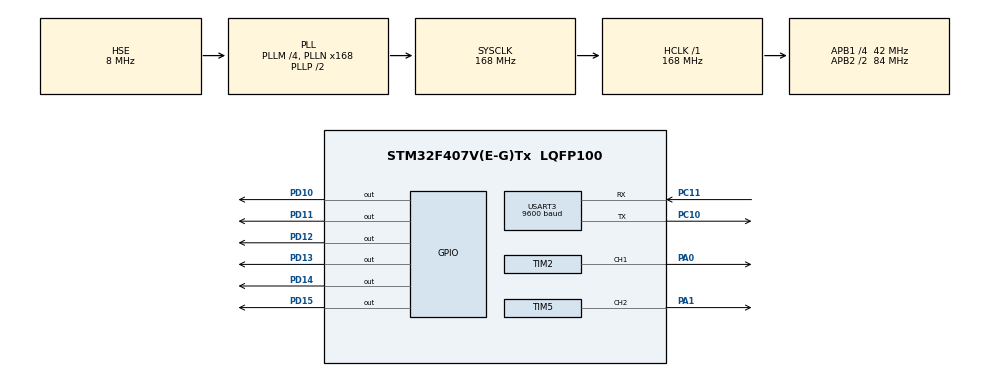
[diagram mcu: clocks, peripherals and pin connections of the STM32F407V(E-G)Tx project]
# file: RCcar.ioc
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Mcu.Family=STM32F4
Mcu.Name=STM32F407V(E-G)Tx
Mcu.Package=LQFP100
NVIC.PriorityGroup=NVIC_PRIORITYGROUP_4
NVIC.TIM2_IRQn=true\:0\:0\:false\:false\:true\:true\:true
NVIC.TIM5_IRQn=true\:0\:0\:false\:false\:true\:true\:true
NVIC.USART3_IRQn=true\:0\:0\:false\:false\:true\:true\:true
PA0-WKUP.Signal=S_TIM2_CH1_ETR
PA1.Signal=S_TIM5_CH2
PC10.Mode=Asynchronous
PC10.Signal=USART3_TX
PC11.Mode=Asynchronous
PC11.Signal=USART3_RX
PD10.Signal=GPIO_Output
PD11.Signal=GPIO_Output
PD12.Signal=GPIO_Output
PD13.Signal=GPIO_Output
PD14.Signal=GPIO_Output
PD15.Signal=GPIO_Output
PH0-OSC_IN.Mode=HSE-External-Oscillator
PH0-OSC_IN.Signal=RCC_OSC_IN
PH1-OSC_OUT.Mode=HSE-External-Oscillator
PH1-OSC_OUT.Signal=RCC_OSC_OUT
ProjectManager.HeapSize=0x200
ProjectManager.StackSize=0x400
ProjectManager.TargetToolchain=STM32CubeIDE
RCC.48MHZClocksFreq_Value=84000000
RCC.AHBFreq_Value=168000000
RCC.APB1CLKDivider=RCC_HCLK_DIV4
RCC.APB1Freq_Value=42000000
RCC.APB1TimFreq_Value=84000000
RCC.APB2CLKDivider=RCC_HCLK_DIV2
RCC.APB2Freq_Value=84000000
RCC.APB2TimFreq_Value=168000000
RCC.CortexFreq_Value=168000000
RCC.HCLKFreq_Value=168000000
RCC.HSE_VALUE=8000000
RCC.HSI_VALUE=16000000
RCC.LSE_VALUE=32768
RCC.PLLM=4
RCC.PLLN=168
RCC.PLLSourceVirtual=RCC_PLLSOURCE_HSE
RCC.SYSCLKFreq_VALUE=168000000
RCC.SYSCLKSource=RCC_SYSCLKSOURCE_PLLCLK
RCC.VCOOutputFreq_Value=336000000
SH.S_TIM2_CH1_ETR.0=TIM2_CH1,PWM Generation1 CH1
SH.S_TIM5_CH2.0=TIM5_CH2,PWM Generation2 CH2
TIM2.Channel-PWM\ Generation1\ CH1=TIM_CHANNEL_1
TIM2.Period=999
TIM2.Prescaler=3359
TIM2.Pulse-PWM\ Generation1\ CH1=0
TIM5.Channel-PWM\ Generation2\ CH2=TIM_CHANNEL_2
TIM5.Period=99
TIM5.Prescaler=16799
USART3.BaudRate=9600
USART3.VirtualMode=VM_ASYNC
board=custom

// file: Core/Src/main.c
/* USER CODE BEGIN Header */
/**
  ******************************************************************************
  * @file           : main.c
  * @brief          : Main program body
  ******************************************************************************
  * @attention
  *
  * <h2><center>&copy; Copyright (c) 2020 STMicroelectronics.
  * All rights reserved.</center></h2>
  *
  * This software component is licensed by ST under BSD 3-Clause license,
  * the "License"; You may not use this file except in compliance with the
  * License. You may obtain a copy of the License at:
  *                        opensource.org/licenses/BSD-3-Clause
  *
  ******************************************************************************
  */
/* USER CODE END Header */

#include "main.h"

TIM_HandleTypeDef htim2;
TIM_HandleTypeDef htim5;

UART_HandleTypeDef huart3;

/* USER CODE BEGIN PV */
double toDC;
double opp = 60;
double toServo;
double v1,v2;
uint8_t receiveUART[2];
uint16_t sizeReceiveUART = 2;
/* USER CODE END PV */

void SystemClock_Config(void);
static void MX_GPIO_Init(void);
static void MX_TIM2_Init(void);
static void MX_USART3_UART_Init(void);
static void MX_TIM5_Init(void);

int main(void)
{

  /* MCU Configuration--------------------------------------------------------*/

  /* Reset of all peripherals, Initializes the Flash interface and the Systick. */
  HAL_Init();

  /* Configure the system clock */
  SystemClock_Config();

  /* Initialize all configured peripherals */
  MX_GPIO_Init();
  MX_TIM2_Init();
  MX_USART3_UART_Init();
  MX_TIM5_Init();
  /* USER CODE BEGIN 2 */

  HAL_TIM_PWM_Start(&htim2, TIM_CHANNEL_1);
  HAL_TIM_PWM_Start(&htim5, TIM_CHANNEL_2);// Start ADC in Interrupt
  /* USER CODE END 2 */

  /* Infinite loop */
  while (1)
  {

    /* USER CODE BEGIN 3 */
	  HAL_UART_Receive_IT(&huart3, receiveUART, sizeReceiveUART);
	  v1= receiveUART[0];
	  v2= receiveUART[1];
	 	  /*if(receiveUART[0] == 1 && receiveUART[1] < 60){
	 		 HAL_GPIO_WritePin(GPIOD,GPIO_PIN_14,GPIO_PIN_RESET);
	 		  HAL_GPIO_WritePin(GPIOD,GPIO_PIN_12,GPIO_PIN_SET);
	 	  }
	 	  else if (receiveUART[0] == 1 && receiveUART[1] > 60) {
	 		  HAL_GPIO_WritePin(GPIOD,GPIO_PIN_12,GPIO_PIN_RESET);
			  HAL_GPIO_WritePin(GPIOD,GPIO_PIN_14,GPIO_PIN_SET);
	 	  }
	 	  else if(receiveUART[0] == 2 && receiveUART[1] < 60){
	 	 	  HAL_GPIO_WritePin(GPIOD,GPIO_PIN_13,GPIO_PIN_RESET);
	 	 	  HAL_GPIO_WritePin(GPIOD,GPIO_PIN_15,GPIO_PIN_SET);
	 	  }
	 	  else if (receiveUART[0] == 2 && receiveUART[1] > 60) {
		  HAL_GPIO_WritePin(GPIOD,GPIO_PIN_15,GPIO_PIN_RESET);
		  HAL_GPIO_WritePin(GPIOD,GPIO_PIN_13,GPIO_PIN_SET);
	 	  }
	  	  else{
	  		HAL_GPIO_WritePin(GPIOD,GPIO_PIN_12,GPIO_PIN_RESET);
	  		HAL_GPIO_WritePin(GPIOD,GPIO_PIN_14,GPIO_PIN_RESET);
	      HAL_GPIO_WritePin(GPIOD,GPIO_PIN_13,GPIO_PIN_RESET);
	      HAL_GPIO_WritePin(GPIOD,GPIO_PIN_15,GPIO_PIN_RESET);
	 	  }*/

	  if(v1 == 2.0){
		  toServo = (v2 * 0.25) + 60;
		  htim2.Instance->CCR1 = toServo;
	  }
	  if(v1 == 1.0){
		  if(v2 > 60){
			  HAL_GPIO_WritePin(GPIOD,GPIO_PIN_10,GPIO_PIN_RESET);
			  HAL_GPIO_WritePin(GPIOD,GPIO_PIN_11,GPIO_PIN_SET);
			  toDC = v2 - 60;
			  toDC = (toDC * 1.33) + 20;
			  htim5.Instance->CCR2 = toDC;
		  }
		  else if(v2 < 60){
			  HAL_GPIO_WritePin(GPIOD,GPIO_PIN_11,GPIO_PIN_RESET);
			  HAL_GPIO_WritePin(GPIOD,GPIO_PIN_10,GPIO_PIN_SET);
			  toDC = opp - v2;
			  toDC = (toDC * 1.33) + 20;
 			  htim5.Instance->CCR2 = toDC;
		  }
		  else{
			  HAL_GPIO_WritePin(GPIOD,GPIO_PIN_11,GPIO_PIN_RESET);
			  HAL_GPIO_WritePin(GPIOD,GPIO_PIN_10,GPIO_PIN_RESET);
		  }
	  }
  }
  /* USER CODE END 3 */
}

void SystemClock_Config(void)
{
  RCC_OscInitTypeDef RCC_OscInitStruct = {0};
  RCC_ClkInitTypeDef RCC_ClkInitStruct = {0};

  /** Configure the main internal regulator output voltage
  */
  __HAL_RCC_PWR_CLK_ENABLE();
  __HAL_PWR_VOLTAGESCALING_CONFIG(PWR_REGULATOR_VOLTAGE_SCALE1);
  /** Initializes the CPU, AHB and APB busses clocks
  */
  RCC_OscInitStruct.OscillatorType = RCC_OSCILLATORTYPE_HSE;
  RCC_OscInitStruct.HSEState = RCC_HSE_ON;
  RCC_OscInitStruct.PLL.PLLState = RCC_PLL_ON;
  RCC_OscInitStruct.PLL.PLLSource = RCC_PLLSOURCE_HSE;
  RCC_OscInitStruct.PLL.PLLM = 4;
  RCC_OscInitStruct.PLL.PLLN = 168;
  RCC_OscInitStruct.PLL.PLLP = RCC_PLLP_DIV2;
  RCC_OscInitStruct.PLL.PLLQ = 4;
  if (HAL_RCC_OscConfig(&RCC_OscInitStruct) != HAL_OK)
  {
    Error_Handler();
  }
  /** Initializes the CPU, AHB and APB busses clocks
  */
  RCC_ClkInitStruct.ClockType = RCC_CLOCKTYPE_HCLK|RCC_CLOCKTYPE_SYSCLK
                              |RCC_CLOCKTYPE_PCLK1|RCC_CLOCKTYPE_PCLK2;
  RCC_ClkInitStruct.SYSCLKSource = RCC_SYSCLKSOURCE_PLLCLK;
  RCC_ClkInitStruct.AHBCLKDivider = RCC_SYSCLK_DIV1;
  RCC_ClkInitStruct.APB1CLKDivider = RCC_HCLK_DIV4;
  RCC_ClkInitStruct.APB2CLKDivider = RCC_HCLK_DIV2;

  if (HAL_RCC_ClockConfig(&RCC_ClkInitStruct, FLASH_LATENCY_5) != HAL_OK)
  {
    Error_Handler();
  }
}

static void MX_TIM2_Init(void)
{

  TIM_MasterConfigTypeDef sMasterConfig = {0};
  TIM_OC_InitTypeDef sConfigOC = {0};

  htim2.Instance = TIM2;
  htim2.Init.Prescaler = 1679;
  htim2.Init.CounterMode = TIM_COUNTERMODE_UP;
  htim2.Init.Period = 999;
  htim2.Init.ClockDivision = TIM_CLOCKDIVISION_DIV1;
  htim2.Init.AutoReloadPreload = TIM_AUTORELOAD_PRELOAD_DISABLE;
  if (HAL_TIM_PWM_Init(&htim2) != HAL_OK)
  {
    Error_Handler();
  }
  sMasterConfig.MasterOutputTrigger = TIM_TRGO_RESET;
  sMasterConfig.MasterSlaveMode = TIM_MASTERSLAVEMODE_DISABLE;
  if (HAL_TIMEx_MasterConfigSynchronization(&htim2, &sMasterConfig) != HAL_OK)
  {
    Error_Handler();
  }
  sConfigOC.OCMode = TIM_OCMODE_PWM1;
  sConfigOC.Pulse = 0;
  sConfigOC.OCPolarity = TIM_OCPOLARITY_HIGH;
  sConfigOC.OCFastMode = TIM_OCFAST_DISABLE;
  if (HAL_TIM_PWM_ConfigChannel(&htim2, &sConfigOC, TIM_CHANNEL_1) != HAL_OK)
  {
    Error_Handler();
  }
  HAL_TIM_MspPostInit(&htim2);

}

static void MX_TIM5_Init(void)
{

  TIM_MasterConfigTypeDef sMasterConfig = {0};
  TIM_OC_InitTypeDef sConfigOC = {0};

  htim5.Instance = TIM5;
  htim5.Init.Prescaler = 16799;
  htim5.Init.CounterMode = TIM_COUNTERMODE_UP;
  htim5.Init.Period = 99;
  htim5.Init.ClockDivision = TIM_CLOCKDIVISION_DIV1;
  htim5.Init.AutoReloadPreload = TIM_AUTORELOAD_PRELOAD_DISABLE;
  if (HAL_TIM_PWM_Init(&htim5) != HAL_OK)
  {
    Error_Handler();
  }
  sMasterConfig.MasterOutputTrigger = TIM_TRGO_RESET;
  sMasterConfig.MasterSlaveMode = TIM_MASTERSLAVEMODE_DISABLE;
  if (HAL_TIMEx_MasterConfigSynchronization(&htim5, &sMasterConfig) != HAL_OK)
  {
    Error_Handler();
  }
  sConfigOC.OCMode = TIM_OCMODE_PWM1;
  sConfigOC.Pulse = 0;
  sConfigOC.OCPolarity = TIM_OCPOLARITY_HIGH;
  sConfigOC.OCFastMode = TIM_OCFAST_DISABLE;
  if (HAL_TIM_PWM_ConfigChannel(&htim5, &sConfigOC, TIM_CHANNEL_2) != HAL_OK)
  {
    Error_Handler();
  }
  HAL_TIM_MspPostInit(&htim5);

}

static void MX_USART3_UART_Init(void)
{

  huart3.Instance = USART3;
  huart3.Init.BaudRate = 9600;
  huart3.Init.WordLength = UART_WORDLENGTH_8B;
  huart3.Init.StopBits = UART_STOPBITS_1;
  huart3.Init.Parity = UART_PARITY_NONE;
  huart3.Init.Mode = UART_MODE_TX_RX;
  huart3.Init.HwFlowCtl = UART_HWCONTROL_NONE;
  huart3.Init.OverSampling = UART_OVERSAMPLING_16;
  if (HAL_UART_Init(&huart3) != HAL_OK)
  {
    Error_Handler();
  }

}

static void MX_GPIO_Init(void)
{
  GPIO_InitTypeDef GPIO_InitStruct = {0};

  /* GPIO Ports Clock Enable */
  __HAL_RCC_GPIOH_CLK_ENABLE();
  __HAL_RCC_GPIOA_CLK_ENABLE();
  __HAL_RCC_GPIOD_CLK_ENABLE();
  __HAL_RCC_GPIOC_CLK_ENABLE();

  /*Configure GPIO pin Output Level */
  HAL_GPIO_WritePin(GPIOD, GPIO_PIN_10|GPIO_PIN_11|GPIO_PIN_12|GPIO_PIN_13
                          |GPIO_PIN_14|GPIO_PIN_15, GPIO_PIN_RESET);

  /*Configure GPIO pins : PD10 PD11 PD12 PD13
                           PD14 PD15 */
  GPIO_InitStruct.Pin = GPIO_PIN_10|GPIO_PIN_11|GPIO_PIN_12|GPIO_PIN_13
                          |GPIO_PIN_14|GPIO_PIN_15;
  GPIO_InitStruct.Mode = GPIO_MODE_OUTPUT_PP;
  GPIO_InitStruct.Pull = GPIO_NOPULL;
  GPIO_InitStruct.Speed = GPIO_SPEED_FREQ_LOW;
  HAL_GPIO_Init(GPIOD, &GPIO_InitStruct);

}

void Error_Handler(void)
{
}

/************************ (C) COPYRIGHT STMicroelectronics *****END OF FILE****/
